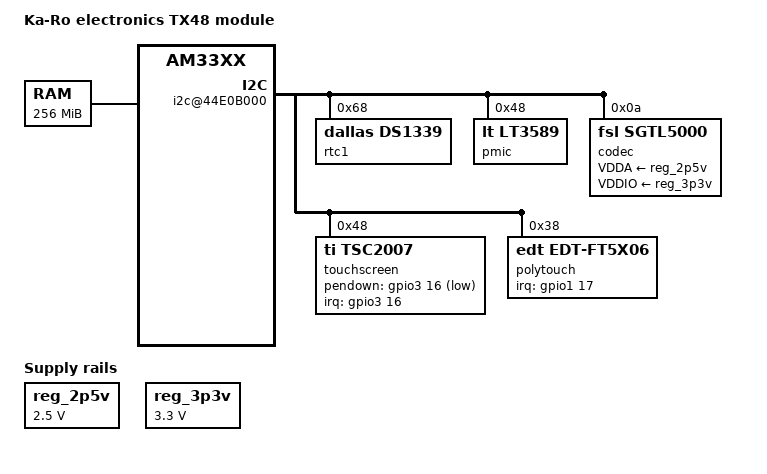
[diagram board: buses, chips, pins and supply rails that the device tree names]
/*
 * Copyright (C) 2012 Texas Instruments Incorporated - http://www.ti.com/
 *
 * This program is free software; you can redistribute it and/or modify
 * it under the terms of the GNU General Public License version 2 as
 * published by the Free Software Foundation.
 */
/dts-v1/;

#include "am33xx.dtsi"

/ {
	model = "Ka-Ro electronics TX48 module";
	compatible = "karo,tx48", "ti,am33xx";

	memory {
		device_type = "memory";
		reg = <0x80000000 0x10000000>; /* 256 MB */
	};

	ocp {
		i2c@44E0B000 {
			rtc1: ds1339@68 {
				compatible = "dallas,ds1339";
				reg = <0x68>;
				trickle-charge = <0xa5>;
			};

			pmic: lt3589@48 {
				compatible = "lt,lt3589";
				reg = <0x48>;
			};

			codec: sgtl5000@0a {
				compatible = "fsl,sgtl5000";
				reg = <0x0a>;
				VDDA-supply = <&reg_2p5v>;
				VDDIO-supply = <&reg_3p3v>;
			};

			touchscreen: tsc2007@48 {
				compatible = "ti,tsc2007";
				reg = <0x48>;
				interrupt-parent = <&gpio3>;
				interrupts = <16 0>;
				pendown-gpio = <&gpio3 16 1>;
				model = "2007";
				x-plate-ohms = <660>;
			};

			polytouch: edt-ft5x06@38 {
				compatible = "edt,edt-ft5x06";
				reg = <0x38>;
				interrupt-parent = <&gpio1>;
				interrupts = <17>;
				reset-switch = <&edt_ft5x06_reset>;
				wake-switch = <&edt_ft5x06_wake>;
			};
		};
	};

	gpio-switch {
		compatible = "gpio-switch";

		can_xcvr_enable: can-xcvr-enable {
			gpio = <&gpio0 22 1>;
			label = "Flexcan Transceiver Enable";
			gpio-shared;
		};

		lcd_power: lcd-power {
			compatible = "linux,gpio-switch";
			gpio = <&gpio1 22 0>;
			label = "LCD Power Enable";
		};

		lcd_reset: lcd-reset {
			compatible = "linux,gpio-switch";
			gpio = <&gpio1 19 1>;
			label = "LCD Reset";
			init-state = <1>;
		};

		edt_ft5x06_reset: edt-ft5x06-reset {
			compatible = "linux,gpio-switch";
			gpio = <&gpio1 18 1>;
			label = "EDT-FT5x06 RESET";
		};

		edt_ft5x06_wake: edt-ft5x06-wake {
			compatible = "linux,gpio-switch";
			gpio = <&gpio1 27 0>;
			label = "EDT-FT5x06 WAKE";
			init-state = <1>;
		};
	};

	regulators {
		compatible = "simple-bus";

		reg_2p5v: 2p5v {
			compatible = "regulator-fixed";
			regulator-name = "2P5V";
			regulator-min-microvolt = <2500000>;
			regulator-max-microvolt = <2500000>;
			regulator-always-on;
		};

		reg_3p3v: 3p3v {
			compatible = "regulator-fixed";
			regulator-name = "3P3V";
			regulator-min-microvolt = <3300000>;
			regulator-max-microvolt = <3300000>;
			regulator-always-on;
		};
	};
};
